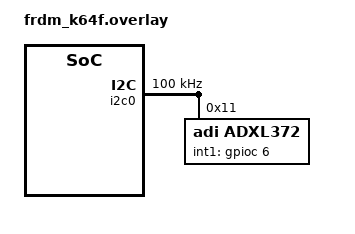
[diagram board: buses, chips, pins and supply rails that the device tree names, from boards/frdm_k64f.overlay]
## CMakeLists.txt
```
#
#  Copyright (c) 2018 Analog Devices Inc.
#
#  SPDX-License-Identifier: Apache-2.0
#
cmake_minimum_required(VERSION 3.13.1)
find_package(Zephyr REQUIRED HINTS $ENV{ZEPHYR_BASE})
project(adxl372)

FILE(GLOB app_sources src/*.c)
target_sources(app PRIVATE ${app_sources})
```

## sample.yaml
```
sample:
  name: ADXL372 High-g Accelerometer Sensor
tests:
  sample.sensor.adxl372:
    harness: sensor
    tags: sensors
    depends_on: spi
    platform_allow: nrf52dk_nrf52832
    integration_platforms:
      - nrf52dk_nrf52832
  sample.sensor.adxl372.i2c:
    harness: sensor
    tags: sensors
    depends_on: i2c
    platform_allow: frdm_k64f
    integration_platforms:
      - frdm_k64f
    extra_args: "CONF_FILE=prj_i2c.conf"
```

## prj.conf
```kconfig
CONFIG_STDOUT_CONSOLE=y
CONFIG_LOG=y
CONFIG_SPI=y
CONFIG_SENSOR=y
CONFIG_ADXL372=y
CONFIG_ADXL372_SPI=y
CONFIG_SENSOR_LOG_LEVEL_WRN=y

CONFIG_CBPRINTF_FP_SUPPORT=y
```

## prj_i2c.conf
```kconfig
CONFIG_STDOUT_CONSOLE=y
CONFIG_LOG=y
CONFIG_I2C=y
CONFIG_SENSOR=y
CONFIG_ADXL372=y
CONFIG_ADXL372_I2C=y
CONFIG_SENSOR_LOG_LEVEL_WRN=y
```

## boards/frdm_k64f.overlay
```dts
/*
 * Copyright (c) 2019 Linaro Limited
 *
 * SPDX-License-Identifier: Apache-2.0
 */

&i2c0 {
	status = "okay";
	clock-frequency = <I2C_BITRATE_STANDARD>;
	adxl372@11 {
		compatible = "adi,adxl372";
		reg = <0x11>;
		label = "ADXL372";
		int1-gpios = <&gpioc 6 0>;
	};
};
```

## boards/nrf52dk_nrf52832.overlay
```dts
/*
 * Copyright (c) 2019 Linaro Limited
 *
 * SPDX-License-Identifier: Apache-2.0
 */

&spi2 {
	cs-gpios = <&gpio0 22 GPIO_ACTIVE_LOW>;
	adxl372@0 {
		compatible = "adi,adxl372";
		reg = <0>;
		spi-max-frequency = <8000000>;
		label = "ADXL372";
		int1-gpios = <&gpio0 11 GPIO_ACTIVE_HIGH>;
	};
};
```

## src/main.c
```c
/*
 * Copyright (c) 2018 Analog Devices Inc.
 *
 * SPDX-License-Identifier: Apache-2.0
 */

#include <zephyr.h>
#include <drivers/sensor.h>
#include <stdio.h>

#define pow2(x) ((x) * (x))

#if !DT_HAS_COMPAT_STATUS_OKAY(adi_adxl372)
#error "No adi,adxl372 compatible node found in the device tree"
#endif

static double sqrt(double value)
{
	int i;
	double sqrt = value / 3;

	if (value <= 0) {
		return 0;
	}

	for (i = 0; i < 6; i++) {
		sqrt = (sqrt + value / sqrt) / 2;
	}

	return sqrt;
}

K_SEM_DEFINE(sem, 0, 1);

static void trigger_handler(const struct device *dev,
			    struct sensor_trigger *trigger)
{
	ARG_UNUSED(trigger);

	if (sensor_sample_fetch(dev)) {
		printf("sensor_sample_fetch failed\n");
		return;
	}

	k_sem_give(&sem);
}

void main(void)
{
	struct sensor_value accel[3];
	double mag;
	int i;
	char meter[200];

	const struct device *dev = DEVICE_DT_GET_ANY(adi_adxl372);

	if (!device_is_ready(dev)) {
		printf("Device %s is not ready\n", dev->name);
		return;
	}

	struct sensor_trigger trig = {
		.type = SENSOR_TRIG_DATA_READY,
		.chan = SENSOR_CHAN_ACCEL_XYZ,
	};

	if (IS_ENABLED(CONFIG_ADXL372_PEAK_DETECT_MODE)) {
		trig.type = SENSOR_TRIG_THRESHOLD;
	}

	if (IS_ENABLED(CONFIG_ADXL372_TRIGGER)) {
		if (sensor_trigger_set(dev, &trig, trigger_handler)) {
			printf("Could not set trigger\n");
			return;
		}
	}

	while (1) {
		if (IS_ENABLED(CONFIG_ADXL372_TRIGGER)) {
			if (IS_ENABLED(CONFIG_ADXL372_PEAK_DETECT_MODE)) {
				printf("Waiting for a threshold event\n");
			}
			k_sem_take(&sem, K_FOREVER);
		} else {
			if (sensor_sample_fetch(dev)) {
				printf("sensor_sample_fetch failed\n");
			}
		}

		sensor_channel_get(dev, SENSOR_CHAN_ACCEL_XYZ, accel);

		if (IS_ENABLED(CONFIG_ADXL372_PEAK_DETECT_MODE)) {
			mag = sqrt(pow2(sensor_ms2_to_g(&accel[0])) +
				pow2(sensor_ms2_to_g(&accel[1])) +
				pow2(sensor_ms2_to_g(&accel[2])));

			for (i = 0; i <= mag && i < (sizeof(meter) - 1); i++) {
				meter[i] = '#';
			}

			meter[i] = '\0';

			printf("%6.2f g: %s\n", mag, meter);
		} else {
			printf("AX=%10.2f AY=%10.2f AZ=%10.2f (m/s^2)\n",
				sensor_value_to_double(&accel[0]),
				sensor_value_to_double(&accel[1]),
				sensor_value_to_double(&accel[2]));
		}

		if (!IS_ENABLED(CONFIG_ADXL372_TRIGGER)) {
			k_sleep(K_MSEC(2000));
		}
	}
}
```
